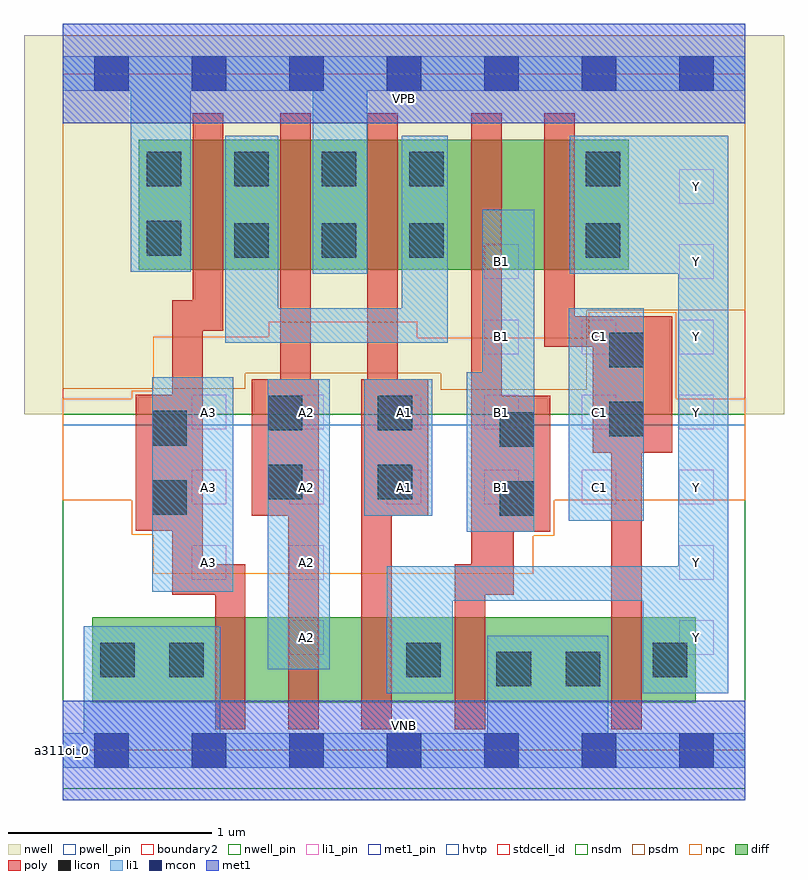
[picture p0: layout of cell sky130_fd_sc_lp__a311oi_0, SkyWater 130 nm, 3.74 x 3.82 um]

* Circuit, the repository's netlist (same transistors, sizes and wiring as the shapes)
* Copyright 2020 The SkyWater PDK Authors
*
* Licensed under the Apache License, Version 2.0 (the "License");
* you may not use this file except in compliance with the License.
* You may obtain a copy of the License at
*
*     https://www.apache.org/licenses/LICENSE-2.0
*
* Unless required by applicable law or agreed to in writing, software
* distributed under the License is distributed on an "AS IS" BASIS,
* WITHOUT WARRANTIES OR CONDITIONS OF ANY KIND, either express or implied.
* See the License for the specific language governing permissions and
* limitations under the License.
*
* SPDX-License-Identifier: Apache-2.0

.SUBCKT sky130_fd_sc_lp__a311oi_0 A1 A2 A3 B1 C1 VGND VNB VPB VPWR Y
*.PININFO A1:I A2:I A3:I B1:I C1:I VGND:I VNB:I VPB:I VPWR:I Y:O
MMPA0 pndA A1 VPWR VPB sky130_fd_pr__pfet_01v8_hvt m=1 w=0.64U l=0.15U mult=1 sa=0.265
+ sb=0.265 sd=0.28 area=0.063 perim=1.14
MMPA1 pndA A2 VPWR VPB sky130_fd_pr__pfet_01v8_hvt m=1 w=0.64U l=0.15U mult=1 sa=0.265
+ sb=0.265 sd=0.28 area=0.063 perim=1.14
MMPA2 pndA A3 VPWR VPB sky130_fd_pr__pfet_01v8_hvt m=1 w=0.64U l=0.15U mult=1 sa=0.265
+ sb=0.265 sd=0.28 area=0.063 perim=1.14
MMPB0 pndB B1 pndA VPB sky130_fd_pr__pfet_01v8_hvt m=1 w=0.64U l=0.15U mult=1 sa=0.265
+ sb=0.265 sd=0.28 area=0.063 perim=1.14
MMPC0 Y C1 pndB VPB sky130_fd_pr__pfet_01v8_hvt m=1 w=0.64U l=0.15U mult=1 sa=0.265
+ sb=0.265 sd=0.28 area=0.063 perim=1.14
MMNA0 Y A1 sndA1 VNB sky130_fd_pr__nfet_01v8 m=1 w=0.42U l=0.15U mult=1 sa=0.265
+ sb=0.265 sd=0.28 area=0.063 perim=1.14
MMNA1 sndA1 A2 sndA2 VNB sky130_fd_pr__nfet_01v8 m=1 w=0.42U l=0.15U mult=1 sa=0.265
+ sb=0.265 sd=0.28 area=0.063 perim=1.14
MMNA2 sndA2 A3 VGND VNB sky130_fd_pr__nfet_01v8 m=1 w=0.42U l=0.15U mult=1 sa=0.265
+ sb=0.265 sd=0.28 area=0.063 perim=1.14
MMNB0 Y B1 VGND VNB sky130_fd_pr__nfet_01v8 m=1 w=0.42U l=0.15U mult=1 sa=0.265
+ sb=0.265 sd=0.28 area=0.063 perim=1.14
MMNC0 Y C1 VGND VNB sky130_fd_pr__nfet_01v8 m=1 w=0.42U l=0.15U mult=1 sa=0.265
+ sb=0.265 sd=0.28 area=0.063 perim=1.14
.ENDS sky130_fd_sc_lp__a311oi_0

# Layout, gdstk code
import gdstk
lib = gdstk.Library(unit=1e-6, precision=1e-09)
def R(c, l, rs):  # rectangles x0, y0, x1, y1
    for r in rs: c.add(gdstk.rectangle(r[:2], r[2:], *l))
def A(c, l, x, y, w, h, nx, ny, dx, dy):  # array of equal rectangles
    R(c, l, [(x+i*dx, y+j*dy, x+i*dx+w, y+j*dy+h) for i in range(nx) for j in range(ny)])
def P(c, l, *ps):  # polygons
    for p in ps: c.add(gdstk.Polygon(p, *l))
nwell_pin = (64, 16)
nwell = (64, 20)
diff = (65, 20)
poly = (66, 20)
licon = (66, 44)
li1_pin = (67, 16)
li1 = (67, 20)
mcon = (67, 44)
met1_pin = (68, 16)
met1 = (68, 20)
hvtp = (78, 44)
stdcell_id = (81, 4)
nsdm = (93, 44)
psdm = (94, 20)
npc = (95, 20)
pwell_pin = (122, 16)
boundary2 = (236, 0)

sky130_fd_sc_lp__a311oi_ = lib.new_cell('sky130_fd_sc_lp__a311oi_0')
R(sky130_fd_sc_lp__a311oi_, nwell_pin, [(0,3.085,3.36,3.33)])
R(sky130_fd_sc_lp__a311oi_, nwell, [(-0.19,1.655,3.55,3.52)])
R(sky130_fd_sc_lp__a311oi_, diff, [(0.145,0.235,3.115,0.655), (0.375,2.365,2.785,3.005)])
P(sky130_fd_sc_lp__a311oi_, poly, [(0.9,0.915),(0.69,0.915),(0.69,2.065),(0.79,2.065),(0.79,3.135),(0.64,3.135),(0.64,2.215),(0.54,2.215),(0.54,1.75),(0.36,1.75),(0.36,1.08),(0.54,1.08),(0.54,0.765),(0.75,0.765),(0.75,0.105),(0.9,0.105)],
  [(1.26,1.825),(1.22,1.825),(1.22,3.135),(1.07,3.135),(1.07,1.825),(0.93,1.825),(0.93,1.155),(1.11,1.155),(1.11,0.105),(1.26,0.105)],
  [(3,2.135),(2.52,2.135),(2.52,3.135),(2.37,3.135),(2.37,1.985),(2.61,1.985),(2.61,1.465),(2.7,1.465),(2.7,0.105),(2.85,0.105),(2.85,1.465),(3,1.465)],
  [(1.8,1.825),(1.65,1.825),(1.65,3.135),(1.5,3.135),(1.5,1.825),(1.47,1.825),(1.47,0.105),(1.62,0.105),(1.62,1.155),(1.8,1.155)],
  [(2.4,1.745),(2.16,1.745),(2.16,3.135),(2.01,3.135),(2.01,0.915),(1.93,0.915),(1.93,0.105),(2.08,0.105),(2.08,0.765),(2.22,0.765),(2.22,1.075),(2.4,1.075)])
A(sky130_fd_sc_lp__a311oi_, licon, 0.845, 2.425, 0.17, 0.17, 3, 1, 0.43, 0)
A(sky130_fd_sc_lp__a311oi_, licon, 0.415, 2.775, 0.17, 0.17, 4, 1, 0.43, 0)
R(sky130_fd_sc_lp__a311oi_, licon, [(2.135,0.315,2.305,0.485), (2.475,0.315,2.645,0.485), (0.185,0.36,0.355,0.53), (0.525,0.36,0.695,0.53), (1.69,0.36,1.86,0.53), (2.905,0.36,3.075,0.53), (2.15,1.155,2.32,1.325), (0.44,1.16,0.61,1.33), (1.01,1.235,1.18,1.405), (1.55,1.235,1.72,1.405), (2.15,1.495,2.32,1.665), (0.44,1.5,0.61,1.67), (2.69,1.545,2.86,1.715), (1.01,1.575,1.18,1.745), (1.55,1.575,1.72,1.745), (2.69,1.885,2.86,2.055), (2.575,2.425,2.745,2.595), (0.415,2.435,0.585,2.605), (2.575,2.775,2.745,2.945)])
A(sky130_fd_sc_lp__a311oi_, li1_pin, 0.635, 1.21, 0.17, 0.17, 6, 2, 0.48, 0.37)
A(sky130_fd_sc_lp__a311oi_, li1_pin, 2.075, 1.95, 0.17, 0.17, 3, 1, 0.48, 0)
R(sky130_fd_sc_lp__a311oi_, li1_pin, [(1.115,0.47,1.285,0.64), (3.035,0.47,3.205,0.64), (0.635,0.84,0.805,1.01), (1.115,0.84,1.285,1.01), (3.035,0.84,3.205,1.01), (2.075,2.32,2.245,2.49), (3.035,2.32,3.205,2.49), (3.035,2.69,3.205,2.86)])
R(sky130_fd_sc_lp__a311oi_, li1, [(1.01,0.4,1.315,1.825), (0.44,0.78,0.84,1.835), (2.49,1.13,2.86,2.175), (1.485,1.155,1.82,1.825)])
P(sky130_fd_sc_lp__a311oi_, li1, [(1.895,3.025),(1.67,3.025),(1.67,2.175),(1.06,2.175),(1.06,3.025),(0.8,3.025),(0.8,2.005),(1.895,2.005)],
  [(3.36,0.085),(2.685,0.085),(2.685,0.565),(2.09,0.565),(2.09,0.085),(0.775,0.085),(0.775,0.61),(0.105,0.61),(0.105,0.085),(0,0.085),(0,-0.085),(3.36,-0.085)],
  [(2.32,2.66),(2.065,2.66),(2.065,1.86),(1.99,1.86),(1.99,1.075),(2.32,1.075)],
  [(3.275,3.025),(2.495,3.025),(2.495,2.345),(3.03,2.345),(3.03,0.905),(1.595,0.905),(1.595,0.28),(1.92,0.28),(1.92,0.735),(2.855,0.735),(2.855,0.28),(3.275,0.28)],
  [(3.36,3.415),(0,3.415),(0,3.245),(0.335,3.245),(0.335,2.355),(0.63,2.355),(0.63,3.245),(1.23,3.245),(1.23,2.345),(1.5,2.345),(1.5,3.245),(3.36,3.245)])
A(sky130_fd_sc_lp__a311oi_, mcon, 0.155, -0.085, 0.17, 0.17, 7, 2, 0.48, 3.33)
R(sky130_fd_sc_lp__a311oi_, met1_pin, [(0,0,3.36,0.245), (0,3.085,3.36,3.33)])
R(sky130_fd_sc_lp__a311oi_, met1, [(0,-0.245,3.36,0.245), (0,3.085,3.36,3.575)])
R(sky130_fd_sc_lp__a311oi_, hvtp, [(0,1.6,3.36,3.33)])
R(sky130_fd_sc_lp__a311oi_, stdcell_id, [(0,0,3.36,3.33)])
R(sky130_fd_sc_lp__a311oi_, nsdm, [(0,-0.19,3.36,1.655)])
P(sky130_fd_sc_lp__a311oi_, psdm, [(3.36,3.52),(0,3.52),(0,1.78),(0.9,1.78),(0.9,1.855),(1.86,1.855),(1.86,1.775),(2.58,1.775),(2.58,2.165),(3.36,2.165)])
P(sky130_fd_sc_lp__a311oi_, npc, [(3.36,1.73),(3.02,1.73),(3.02,2.155),(2.59,2.155),(2.59,2.03),(1.745,2.03),(1.745,2.11),(1.015,2.11),(1.015,2.035),(0.445,2.035),(0.445,1.77),(0.34,1.77),(0.34,1.73),(0,1.73),(0,1.23),(0.34,1.23),(0.34,1.06),(0.445,1.06),(0.445,0.87),(2.315,0.87),(2.315,1.055),(2.42,1.055),(2.42,1.23),(3.36,1.23)])
R(sky130_fd_sc_lp__a311oi_, pwell_pin, [(0,0,3.36,0.245)])
R(sky130_fd_sc_lp__a311oi_, boundary2, [(0,0,3.36,3.33)])
sky130_fd_sc_lp__a311oi_.add(gdstk.Label('VNB', (1.68,0.123), layer=64, texttype=59))
sky130_fd_sc_lp__a311oi_.add(gdstk.Label('VPB', (1.68,3.208), layer=64, texttype=5))
sky130_fd_sc_lp__a311oi_.add(gdstk.Label('a311oi_0', (0,0), layer=83, texttype=44))
sky130_fd_sc_lp__a311oi_.add(gdstk.Label('VPWR', (1.68,3.208), layer=68, texttype=5))
sky130_fd_sc_lp__a311oi_.add(gdstk.Label('VGND', (1.68,0.123), layer=68, texttype=5))
sky130_fd_sc_lp__a311oi_.add(gdstk.Label('A1', (1.68,1.295), layer=67, texttype=5))
sky130_fd_sc_lp__a311oi_.add(gdstk.Label('A1', (1.68,1.665), layer=67, texttype=5))
sky130_fd_sc_lp__a311oi_.add(gdstk.Label('A2', (1.2,0.925), layer=67, texttype=5))
sky130_fd_sc_lp__a311oi_.add(gdstk.Label('A2', (1.2,1.295), layer=67, texttype=5))
sky130_fd_sc_lp__a311oi_.add(gdstk.Label('A2', (1.2,1.665), layer=67, texttype=5))
sky130_fd_sc_lp__a311oi_.add(gdstk.Label('A3', (0.72,1.295), layer=67, texttype=5))
sky130_fd_sc_lp__a311oi_.add(gdstk.Label('A3', (0.72,1.665), layer=67, texttype=5))
sky130_fd_sc_lp__a311oi_.add(gdstk.Label('B1', (2.16,1.295), layer=67, texttype=5))
sky130_fd_sc_lp__a311oi_.add(gdstk.Label('B1', (2.16,1.665), layer=67, texttype=5))
sky130_fd_sc_lp__a311oi_.add(gdstk.Label('B1', (2.16,2.035), layer=67, texttype=5))
sky130_fd_sc_lp__a311oi_.add(gdstk.Label('B1', (2.16,2.405), layer=67, texttype=5))
sky130_fd_sc_lp__a311oi_.add(gdstk.Label('C1', (2.64,1.295), layer=67, texttype=5))
sky130_fd_sc_lp__a311oi_.add(gdstk.Label('C1', (2.64,1.665), layer=67, texttype=5))
sky130_fd_sc_lp__a311oi_.add(gdstk.Label('C1', (2.64,2.035), layer=67, texttype=5))
sky130_fd_sc_lp__a311oi_.add(gdstk.Label('Y', (3.12,0.925), layer=67, texttype=5))
sky130_fd_sc_lp__a311oi_.add(gdstk.Label('Y', (3.12,0.555), layer=67, texttype=5))
sky130_fd_sc_lp__a311oi_.add(gdstk.Label('A3', (0.72,0.925), layer=67, texttype=5))
sky130_fd_sc_lp__a311oi_.add(gdstk.Label('Y', (3.12,1.665), layer=67, texttype=5))
sky130_fd_sc_lp__a311oi_.add(gdstk.Label('Y', (3.12,1.295), layer=67, texttype=5))
sky130_fd_sc_lp__a311oi_.add(gdstk.Label('A2', (1.2,0.555), layer=67, texttype=5))
sky130_fd_sc_lp__a311oi_.add(gdstk.Label('Y', (3.12,2.775), layer=67, texttype=5))
sky130_fd_sc_lp__a311oi_.add(gdstk.Label('Y', (3.12,2.405), layer=67, texttype=5))
sky130_fd_sc_lp__a311oi_.add(gdstk.Label('Y', (3.12,2.035), layer=67, texttype=5))

lib.write_gds('sky130_fd_sc_lp__a311oi_0.gds')
